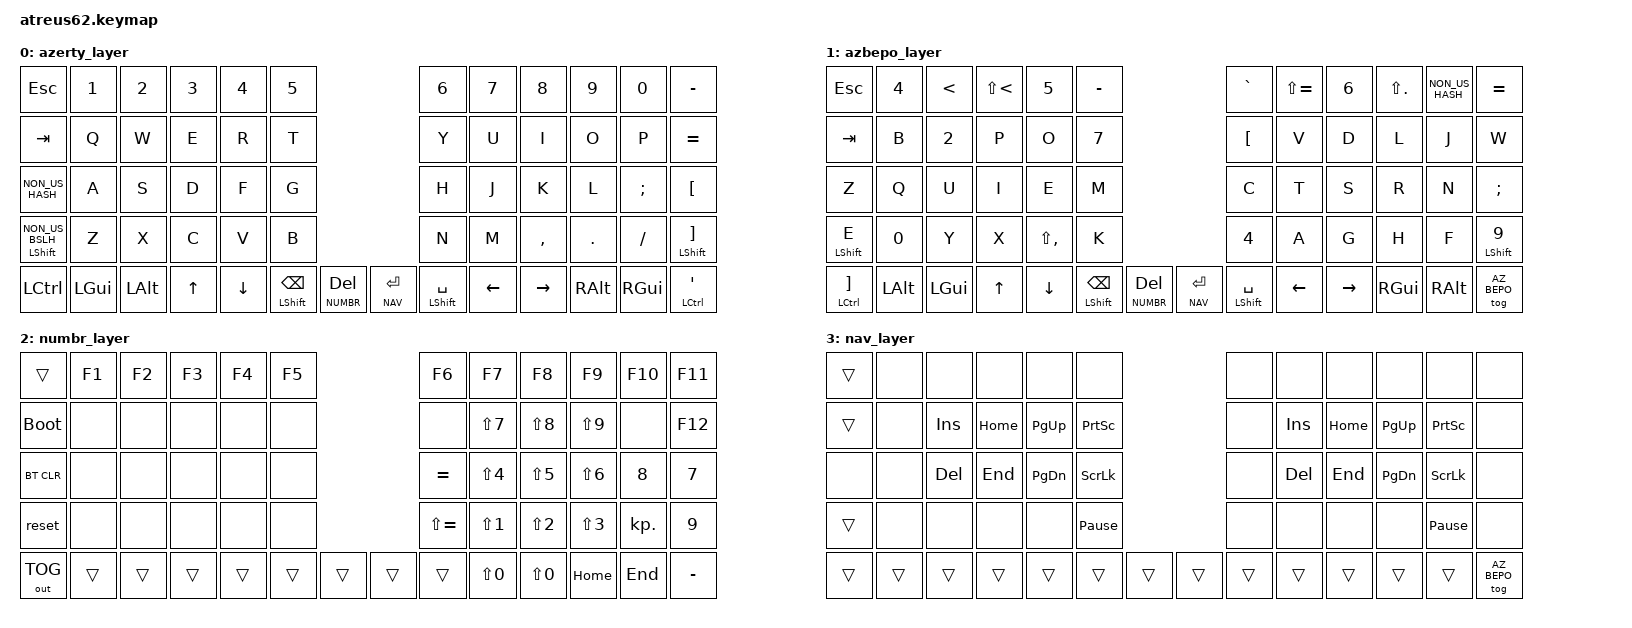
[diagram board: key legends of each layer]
/*
 * Copyright (c) 2020 The ZMK Contributors
 *
 * SPDX-License-Identifier: MIT
 */

#include <behaviors.dtsi>
#include <dt-bindings/zmk/keys.h>
#include <dt-bindings/zmk/bt.h>
#include <dt-bindings/zmk/outputs.h>

#define AZERTY  0
#define BEPO    0
#define AZ_BEPO 1
#define NUMBR   2
#define NAV     3


/ {
        keymap {
                compatible = "zmk,keymap";
                azerty_layer {
                        bindings = <
&kp ESC               &kp N1   &kp N2   &kp N3 &kp N4   &kp N5                                       &kp N6         &kp N7   &kp N8    &kp N9   &kp N0   &kp MINUS
&kp TAB               &kp Q    &kp W    &kp E  &kp R    &kp T                                        &kp Y          &kp U    &kp I     &kp O    &kp P    &kp EQUAL
&kp NON_US_HASH       &kp A    &kp S    &kp D  &kp F    &kp G                                        &kp H          &kp J    &kp K     &kp L    &kp SCLN &kp LBKT
&mt LSHFT NON_US_BSLH &kp Z    &kp X    &kp C  &kp V    &kp B                                        &kp N          &kp M    &kp CMMA  &kp DOT  &kp FSLH &mt LSHFT RBKT
&kp LCTRL             &kp LGUI &kp LALT &kp UP &kp DOWN &mt LSHFT BSPC &lt NUMBR DEL   &lt NAV ENTER &mt LSHFT SPC  &kp LEFT &kp RIGHT &kp RALT &kp RGUI &mt LCTRL QUOT
                        >;
                };

//                bepo_layer {
//                        bindings = <
//&kp ESC         &kp N1   &kp N2   &kp N3 &kp N4   &kp N5                                       &kp N6         &kp N7   &kp N8    &kp N9   &kp N0   &kp MINUS
//&kp TAB         &kp Q    &kp W    &kp E  &kp R    &kp T                                        &kp Y          &kp U    &kp I     &kp O    &kp P    &kp LBKT
//&kp RBKT        &kp A    &kp S    &kp D  &kp F    &kp G                                        &kp H          &kp J    &kp K     &kp L    &kp SCLN &kp APOS
//&mt LSHFT T     &kp Z    &kp X    &kp C  &kp V    &kp B                                        &kp N          &kp M    &kp CMMA  &kp DOT  &kp FSLH &mt LSHFT BSLH
//&mt LCTRL GRAVE &kp LALT &kp LGUI &kp UP &kp DOWN &mt LSHFT BSPC &lt NUMBR DEL   &lt NAV ENTER &mt LSHFT SPC  &kp LEFT &kp RIGHT &kp RGUI &kp RALT &tog AZ_BEPO 
//                        >;
//                };

                azbepo_layer {
                        bindings = <
&kp ESC        &kp N4   &kp LT   &kp LS(LT) &kp N5       &kp MINUS                                    &kp GRAVE     &kp LS(EQUAL) &kp N6     &kp LS(DOT) &kp NON_US_HASH &kp EQUAL
&kp TAB        &kp B    &kp N2   &kp P      &kp O        &kp N7                                       &kp LBKT      &kp V         &kp D      &kp L       &kp J           &kp W
&kp Z          &kp Q    &kp U    &kp I      &kp E        &kp M                                        &kp C         &kp T         &kp S      &kp R       &kp N           &kp SEMI
&mt LSHFT E    &kp N0   &kp Y    &kp X      &kp LS(CMMA) &kp K                                        &kp N4        &kp A         &kp G      &kp H       &kp F           &mt LSHFT N9
&mt LCTRL RBKT &kp LALT &kp LGUI &kp UP     &kp DOWN     &mt LSHFT BSPC &lt NUMBR DEL   &lt NAV ENTER &mt LSHFT SPC &kp LEFT      &kp RIGHT  &kp RGUI    &kp RALT        &tog AZ_BEPO 
                        >;
                };

                numbr_layer {
                        bindings = <
&trans       &kp F1 &kp F2 &kp F3 &kp F4 &kp F5                      &kp F6        &kp F7     &kp F8     &kp F9     &kp F10    &kp F11
&bootloader  &none  &none  &none  &none  &none                       &none         &kp LS(N7) &kp LS(N8) &kp LS(N9) &none      &kp F12
&bt BT_CLR   &none  &none  &none  &none  &none                       &kp EQUAL     &kp LS(N4) &kp LS(N5) &kp LS(N6) &kp N8     &kp N7
&reset       &none  &none  &none  &none  &none                       &kp LS(EQUAL) &kp LS(N1) &kp LS(N2) &kp LS(N3) &kp KP_DOT &kp N9
&out OUT_TOG &trans &trans &trans &trans &trans &trans        &trans &trans        &kp LS(N0) &kp LS(N0) &kp HOME   &kp END    &kp MINUS
                        >;
                };

                nav_layer {
                        bindings = <
&trans &none  &none   &none    &none     &none                                 &none  &none   &none    &none     &none           &none
&trans &none  &kp INS &kp HOME &kp PG_UP &kp PSCRN                             &none  &kp INS &kp HOME &kp PG_UP &kp PSCRN       &none
&none  &none  &kp DEL &kp END  &kp PG_DN &kp SLCK                              &none  &kp DEL &kp END  &kp PG_DN &kp SLCK        &none
&trans &none  &none   &none    &none     &kp PAUSE_BREAK                       &none  &none   &none    &none     &kp PAUSE_BREAK &none
&trans &trans &trans  &trans   &trans    &trans          &trans         &trans &trans &trans  &trans   &trans    &trans          &tog AZ_BEPO

                        >;
                };
        };
};
